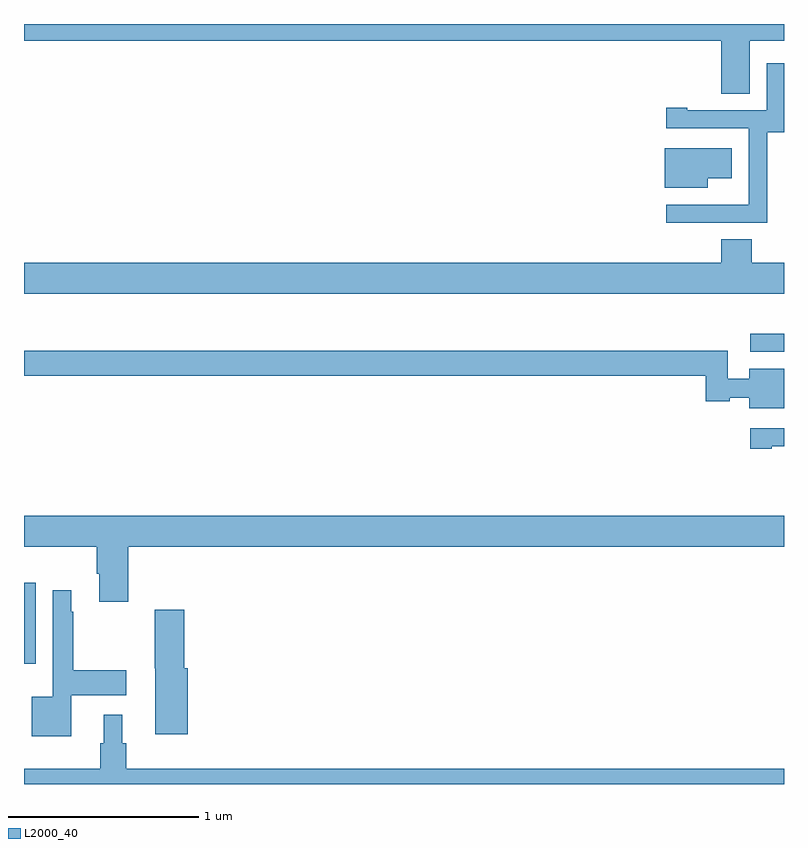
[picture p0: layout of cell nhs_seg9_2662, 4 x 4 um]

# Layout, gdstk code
import gdstk
lib = gdstk.Library(unit=1e-6, precision=1e-09)
def R(c, l, rs):  # rectangles x0, y0, x1, y1
    for r in rs: c.add(gdstk.rectangle(r[:2], r[2:], *l))
def P(c, l, *ps):  # polygons
    for p in ps: c.add(gdstk.Polygon(p, *l))
L2000_40 = (2000, 40)

nhs_seg9_2662 = lib.new_cell('nhs_seg9_2662')
R(nhs_seg9_2662, L2000_40, [(263,1201.134,263.061,1201.56), (266.823,1202.775,267,1202.871)])
P(nhs_seg9_2662, L2000_40, [(266.821,1204.412),(267,1204.412),(267,1204.5),(263,1204.5),(263,1204.412),(266.669,1204.412),(266.669,1204.132),(266.821,1204.132)],
  [(266.913,1203.931),(267,1203.931),(267,1204.293),(266.91,1204.293),(266.91,1204.047),(266.491,1204.047),(266.491,1204.06),(266.379,1204.06),(266.379,1203.951),(266.814,1203.951),(266.814,1203.55),(266.813,1203.55),(266.813,1203.549),(266.379,1203.549),(266.379,1203.453),(266.913,1203.453)],
  [(266.599,1203.689),(266.725,1203.689),(266.725,1203.847),(266.372,1203.847),(266.372,1203.638),(266.599,1203.638)],
  [(267,1203.244),(266.829,1203.244),(266.829,1203.368),(266.669,1203.368),(266.669,1203.244),(263,1203.244),(263,1203.08),(267,1203.08)],
  [(267,1202.686),(266.816,1202.686),(266.816,1202.632),(266.703,1202.632),(266.703,1202.779),(263,1202.779),(263,1202.65),(266.587,1202.65),(266.587,1202.515),(266.715,1202.515),(266.715,1202.534),(266.816,1202.534),(266.816,1202.477),(267,1202.477)],
  [(266.935,1202.277),(267,1202.277),(267,1202.373),(266.823,1202.373),(266.823,1202.265),(266.935,1202.265)],
  [(263.549,1201.748),(267,1201.748),(267,1201.912),(263,1201.912),(263,1201.748),(263.384,1201.748),(263.384,1201.606),(263.396,1201.606),(263.396,1201.458),(263.549,1201.458)],
  [(263.248,1200.968),(263.539,1200.968),(263.539,1201.098),(263.26,1201.098),(263.26,1201.406),(263.248,1201.406),(263.248,1201.519),(263.151,1201.519),(263.151,1200.958),(263.042,1200.958),(263.042,1200.752),(263.248,1200.752)],
  [(263.861,1201.11),(263.843,1201.11),(263.843,1201.417),(263.689,1201.417),(263.689,1201.11),(263.69,1201.11),(263.69,1200.762),(263.861,1200.762)],
  [(267,1200.58),(263.537,1200.58),(263.537,1200.714),(263.518,1200.714),(263.518,1200.865),(263.42,1200.865),(263.42,1200.714),(263.401,1200.714),(263.401,1200.58),(263,1200.58),(263,1200.5),(267,1200.5)])

lib.write_gds('nhs_seg9_2662.gds')
